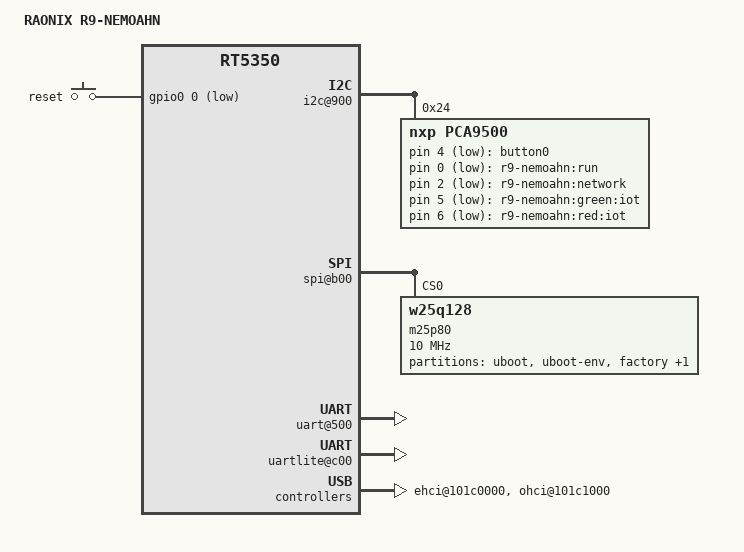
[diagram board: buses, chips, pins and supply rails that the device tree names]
/dts-v1/;

#include "rt5350.dtsi"

/ {
	compatible = "r9-nemoahn", "ralink,rt5350-soc";
	model = "RAONIX R9-NEMOAHN";

	chosen {
		bootargs = "console=ttyS1,57600";
	};

	palmbus@10000000 {
		gpio1: gpio@660 {
			status = "okay";
		};

		i2c@900 {
			status = "okay";

			pca9500: gpio@24 {
				compatible = "nxp,pca9500";
				gpio-controller;
				#gpio-cells = <2>;
				reg = <0x24>;
			};
		};

		spi@b00 {
			status = "okay";

			m25p80@0 {
				#address-cells = <1>;
				#size-cells = <1>;
				compatible = "w25q128";
				reg = <0>;
				linux,modalias = "m25p80", "w25q128";
				spi-max-frequency = <10000000>;

				partition@0 {
					label = "uboot";
					reg = <0x0 0x30000>;
					read-only;
				};

				partition@30000 {
					label = "uboot-env";
					reg = <0x30000 0x10000>;
					read-only;
				};

				factory: partition@40000 {
					label = "factory";
					reg = <0x40000 0x10000>;
					read-only;
				};

				 partition@50000 {
					 label = "firmware";
					 reg = <0x50000 0xf60000>;
				 };
			};
		};

		uart@500 {
			compatible = "ralink,mt7620a-uart", "ralink,rt2880-uart", "ns16550a";
			reg = <0x500 0x100>;
			resets = <&rstctrl 12>;
			reset-names = "uart";
			interrupt-parent = <&intc>;
			interrupts = <5>;
			reg-shift = <2>;
			status = "okay";
		};

		uartlite@c00 {
			compatible = "ralink,mt7620a-uart", "ralink,rt2880-uart", "ns16550a";
			reg = <0xc00 0x100>;
			resets = <&rstctrl 19>;
			reset-names = "uartl";
			interrupt-parent = <&intc>;
			interrupts = <12>;
			reg-shift = <2>;
			pinctrl-names = "default";
			pinctrl-0 = <&uartlite_pins>;
		};
	};

	pinctrl {
		state_default: pinctrl0 {
			gpio {
				ralink,group = "uartf" ;
				ralink,function = "gpio";
			};
		};

		uartf_gpio_pins: uartf_gpio {
			uartf_gpio {
				ralink,group = "uartf";
				ralink,function = "uartf";
			};
		};

		uartlite_pins: uartlite {
			uart {
				ralink,group = "uartlite";
				ralink,function = "uartlite";
			};
		};
	};

	ethernet@10100000 {
		mtd-mac-address = <&factory 0x4>;
	};

	esw@10110000 {
		mediatek,portmap = <0x17>;
	};

	wmac@10180000 {
		ralink,mtd-eeprom = <&factory 0>;
	};

	ehci@101c0000 {
		status = "okay";
	};

	ohci@101c1000 {
		status = "okay";
	};

	gpio-export {
		compatible = "gpio-export";
		#size-cells = <0>;
	};

	gpio-keys-polled {
		compatible = "gpio-keys-polled";
		#address-cells = <1>;
		#size-cells = <0>;
		poll-interval = <20>;

		reset {
			label = "reset";
			gpios = <&gpio0 0 1>;
			linux,code = <0x198>;
		};
		btn0 {
			label = "button0";
			gpios = <&pca9500 4 1>;
			linux,code = <0x100>;
		};
	};

	gpio-leds {
		compatible = "gpio-leds";

		run {
			label = "r9-nemoahn:run";
			gpios = <&pca9500 0 1>;
			default-state = "on";
		};
		network {
			label = "r9-nemoahn:network";
			gpios = <&pca9500 2 1>;
		};
		iot-green {
			label = "r9-nemoahn:green:iot";
			gpios = <&pca9500 5 1>;
		};
		iot-red {
			label = "r9-nemoahn:red:iot";
			gpios = <&pca9500 6 1>;
		};
	};
};
